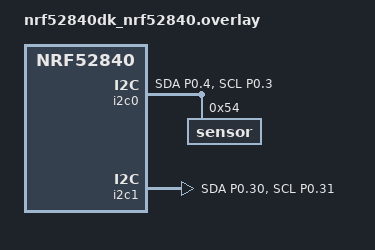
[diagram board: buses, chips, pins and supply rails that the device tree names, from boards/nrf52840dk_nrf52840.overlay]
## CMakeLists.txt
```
#
# Copyright (c) 2024 Nordic Semiconductor ASA
#
# SPDX-License-Identifier: LicenseRef-Nordic-5-Clause
#

cmake_minimum_required(VERSION 3.20.0)

find_package(Zephyr REQUIRED HINTS $ENV{ZEPHYR_BASE})
project(i2c_endless)

FILE(GLOB app_sources src/*.c)

target_sources(app PRIVATE ${app_sources})
```

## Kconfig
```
#
# Copyright (c) 2024 Nordic Semiconductor ASA
#
# SPDX-License-Identifier: LicenseRef-Nordic-5-Clause
#

config ROLE_HOST
	int "Change test behaviour depending on Host/Device role"
	default 1
	help
		Change test behaviour.
		0: Device - returns data received previously
		1: Host - generates data, sends it to the Device, confirms that received data is correct

source "Kconfig.zephyr"
```

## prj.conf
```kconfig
CONFIG_I2C=y
CONFIG_LOG=y
```

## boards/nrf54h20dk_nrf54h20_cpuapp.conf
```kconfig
CONFIG_NRFX_TWIS131=y
```

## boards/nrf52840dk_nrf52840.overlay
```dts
/*
 * Copyright (c) 2024 Nordic Semiconductor ASA
 *
 * SPDX-License-Identifier: LicenseRef-Nordic-5-Clause
 */

/ {
	aliases {
		i2c-slave = &i2c1;
	};
};

&pinctrl {
	i2c0_default_alt: i2c0_default_alt {
		group1 {
			psels = <NRF_PSEL(TWIM_SDA, 0, 4)>,
				<NRF_PSEL(TWIM_SCL, 0, 3)>;
		};
	};

	i2c0_sleep_alt: i2c0_sleep_alt {
		group1 {
			psels = <NRF_PSEL(TWIM_SDA, 0, 4)>,
				<NRF_PSEL(TWIM_SCL, 0, 3)>;
			low-power-enable;
		};
	};

	i2c1_default_alt: i2c1_default_alt {
		group1 {
/* Temporary workaround as it is currently not possible
 * to configure pins for TWIS with pinctrl. */
			psels = <NRF_PSEL(TWIM_SDA, 0, 30)>,
				<NRF_PSEL(TWIM_SCL, 0, 31)>;
			bias-pull-up;
		};
	};

	i2c1_sleep_alt: i2c1_sleep_alt {
		group1 {
			psels = <NRF_PSEL(TWIM_SDA, 0, 30)>,
				<NRF_PSEL(TWIM_SCL, 0, 31)>;
			low-power-enable;
		};
	};
};

&i2c0 {
	compatible = "nordic,nrf-twim";
	status = "okay";
	pinctrl-0 = <&i2c0_default_alt>;
	pinctrl-1 = <&i2c0_sleep_alt>;
	pinctrl-names = "default", "sleep";
	sensor: sensor@54 {
		reg = <0x54>;
	};
};


&i2c1 {
	compatible = "nordic,nrf-twis";
	status = "okay";
	pinctrl-0 = <&i2c1_default_alt>;
	pinctrl-1 = <&i2c1_sleep_alt>;
	pinctrl-names = "default", "sleep";
};
```

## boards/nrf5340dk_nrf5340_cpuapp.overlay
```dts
/*
 * Copyright (c) 2024 Nordic Semiconductor ASA
 *
 * SPDX-License-Identifier: LicenseRef-Nordic-5-Clause
 */

/ {
	aliases {
		i2c-slave = &i2c2;
	};
};

&pinctrl {
	i2c1_default_alt: i2c1_default_alt {
		group1 {
			psels = <NRF_PSEL(TWIM_SDA, 0, 4)>,
				<NRF_PSEL(TWIM_SCL, 0, 5)>;
		};
	};

	i2c1_sleep_alt: i2c1_sleep_alt {
		group1 {
			psels = <NRF_PSEL(TWIM_SDA, 0, 4)>,
				<NRF_PSEL(TWIM_SCL, 0, 5)>;
			low-power-enable;
		};
	};

	i2c2_default_alt: i2c2_default_alt {
		group1 {
/* Temporary workaround as it is currently not possible
 * to configure pins for TWIS with pinctrl. */
			psels = <NRF_PSEL(TWIM_SDA, 0, 26)>,
				<NRF_PSEL(TWIM_SCL, 0, 25)>;
			bias-pull-up;
		};
	};

	i2c2_sleep_alt: i2c2_sleep_alt {
		group1 {
			psels = <NRF_PSEL(TWIM_SDA, 0, 26)>,
				<NRF_PSEL(TWIM_SCL, 0, 25)>;
			low-power-enable;
		};
	};
};

&i2c1 {
	compatible = "nordic,nrf-twim";
	status = "okay";
	pinctrl-0 = <&i2c1_default_alt>;
	pinctrl-1 = <&i2c1_sleep_alt>;
	pinctrl-names = "default", "sleep";
	sensor: sensor@54 {
		reg = <0x54>;
	};
};

&i2c2 {
	compatible = "nordic,nrf-twis";
	pinctrl-0 = <&i2c2_default_alt>;
	pinctrl-1 = <&i2c2_sleep_alt>;
	pinctrl-names = "default", "sleep";
};
```

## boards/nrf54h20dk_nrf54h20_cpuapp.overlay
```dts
/*
 * Copyright (c) 2024 Nordic Semiconductor ASA
 *
 * SPDX-License-Identifier: LicenseRef-Nordic-5-Clause
 */

/ {
	aliases {
		i2c-slave = &i2c131;
	};
};

&pinctrl {
	i2c130_default_alt: i2c130_default_alt {
		group1 {
			psels = <NRF_PSEL(TWIM_SDA, 2, 8)>,
				<NRF_PSEL(TWIM_SCL, 1, 2)>;
		};
	};

	i2c130_sleep_alt: i2c130_sleep_alt {
		group1 {
			psels = <NRF_PSEL(TWIM_SDA, 2, 8)>,
				<NRF_PSEL(TWIM_SCL, 1, 2)>;
			low-power-enable;
		};
	};

	i2c131_default_alt: i2c131_default_alt {
		group1 {
/* Temporary workaround as it is currently not possible
 * to configure pins for TWIS with pinctrl. */
			psels = <NRF_PSEL(TWIM_SDA, 2, 9)>,
				<NRF_PSEL(TWIM_SCL, 1, 3)>;
			bias-pull-up;
		};
	};

	i2c131_sleep_alt: i2c131_sleep_alt {
		group1 {
			psels = <NRF_PSEL(TWIM_SDA, 2, 9)>,
				<NRF_PSEL(TWIM_SCL, 1, 3)>;
			low-power-enable;
		};
	};
};

&i2c130 {
	compatible = "nordic,nrf-twim";
	status = "okay";
	clock-frequency = <I2C_BITRATE_STANDARD>;
	pinctrl-0 = <&i2c130_default_alt>;
	pinctrl-1 = <&i2c130_sleep_alt>;
	pinctrl-names = "default", "sleep";
	memory-regions = <&cpuapp_dma_region>;
	sensor: sensor@54 {
		reg = <0x54>;
	};
};

&i2c131 {
	compatible = "nordic,nrf-twis";
	status = "okay";
	clock-frequency = <I2C_BITRATE_STANDARD>;
	pinctrl-0 = <&i2c131_default_alt>;
	pinctrl-1 = <&i2c131_sleep_alt>;
	pinctrl-names = "default", "sleep";
	memory-regions = <&cpuapp_dma_region>;
};
```

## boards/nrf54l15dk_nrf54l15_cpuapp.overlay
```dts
/*
 * Copyright (c) 2024 Nordic Semiconductor ASA
 *
 * SPDX-License-Identifier: LicenseRef-Nordic-5-Clause
 */

/ {
	aliases {
		i2c-slave = &i2c22;
	};
};

&pinctrl {
	i2c21_default_alt: i2c21_default_alt {
		group1 {
			psels = <NRF_PSEL(TWIM_SDA, 1, 8)>,
				<NRF_PSEL(TWIM_SCL, 1, 12)>;
		};
	};

	i2c21_sleep_alt: i2c21_sleep_alt {
		group1 {
			psels = <NRF_PSEL(TWIM_SDA, 1, 8)>,
				<NRF_PSEL(TWIM_SCL, 1, 12)>;
			low-power-enable;
		};
	};

	i2c22_default_alt: i2c22_default_alt {
		group1 {
/* Temporary workaround as it is currently not possible
 * to configure pins for TWIS with pinctrl. */
			psels = <NRF_PSEL(TWIM_SDA, 1, 9)>,
				<NRF_PSEL(TWIM_SCL, 1, 13)>;
			bias-pull-up;
		};
	};

	i2c22_sleep_alt: i2c22_sleep_alt {
		group1 {
			psels = <NRF_PSEL(TWIM_SDA, 1, 9)>,
				<NRF_PSEL(TWIM_SCL, 1, 13)>;
			low-power-enable;
		};
	};
};

&i2c21 {
	compatible = "nordic,nrf-twim";
	status = "okay";
	pinctrl-0 = <&i2c21_default_alt>;
	pinctrl-1 = <&i2c21_sleep_alt>;
	pinctrl-names = "default", "sleep";
	sensor: sensor@54 {
		reg = <0x54>;
	};
};

&i2c22 {
	compatible = "nordic,nrf-twis";
	status = "okay";
	pinctrl-0 = <&i2c22_default_alt>;
	pinctrl-1 = <&i2c22_sleep_alt>;
	pinctrl-names = "default", "sleep";
};
```

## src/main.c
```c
/*
 * Copyright (c) 2024 Nordic Semiconductor ASA
 *
 * SPDX-License-Identifier: LicenseRef-Nordic-5-Clause
 */

#include <zephyr/logging/log.h>
LOG_MODULE_REGISTER(app, LOG_LEVEL_INF);

#include <zephyr/kernel.h>
#include <zephyr/linker/devicetree_regions.h>
#include <zephyr/device.h>
#include <zephyr/drivers/pinctrl.h>

#include <zephyr/drivers/i2c.h>
#include <nrfx_twis.h>

#if CONFIG_NRFX_TWIS1
#define I2C_S_INSTANCE 1
#elif CONFIG_NRFX_TWIS2
#define I2C_S_INSTANCE 2
#elif CONFIG_NRFX_TWIS22
#define I2C_S_INSTANCE 22
#elif CONFIG_NRFX_TWIS131
#define I2C_S_INSTANCE 131
#else
#error "TWIS instance not enabled or not supported"
#endif

#define NODE_SENSOR DT_NODELABEL(sensor)
#define NODE_TWIS   DT_ALIAS(i2c_slave)

/* Test configuration: */
#define DATA_FIELD_LEN	(16)
#define	DELTA			(1)

#define TWIS_MEMORY_SECTION                                                            \
	COND_CODE_1(DT_NODE_HAS_PROP(NODE_TWIS, memory_regions),                           \
		    (__attribute__((__section__(                                               \
			    LINKER_DT_NODE_REGION_NAME(DT_PHANDLE(NODE_TWIS, memory_regions)))))), \
		    ())

static bool test_pass;
static int counter;

#if CONFIG_ROLE_HOST == 1
static const struct device *twim_dev = DEVICE_DT_GET(DT_BUS(NODE_SENSOR));
static uint8_t i2c_twim_buffer[DATA_FIELD_LEN];
static uint8_t previous_data[DATA_FIELD_LEN];

#else /* ROLE */
static const nrfx_twis_t twis = NRFX_TWIS_INSTANCE(I2C_S_INSTANCE);
static uint8_t i2c_twis_buffer[DATA_FIELD_LEN] TWIS_MEMORY_SECTION;
static uint8_t previous;

static const nrfx_twis_config_t config = {
	.addr = {DT_REG_ADDR(NODE_SENSOR), 0},
	.skip_gpio_cfg = true,
	.skip_psel_cfg = true,
};

void twis_verify_data(void)
{
	test_pass = true;
	/* Verify that received bytes differ by DELTA */
	/* First byte shall be (last byte from previous transaction + DELTA) */
	uint8_t byte_0 = i2c_twis_buffer[0];
	uint8_t expected = previous + DELTA;

	if (byte_0 != expected) {
		LOG_ERR("FAIL: rx[0] = %d, expected %d", byte_0, expected);
		test_pass = false;
	}
	/* Next byte shall be (previous byte + DELTA) */
	for (int i = 1; i < DATA_FIELD_LEN; i++) {
		uint8_t byte_i = i2c_twis_buffer[i];
		uint8_t byte_i_less_1 = i2c_twis_buffer[i - 1];

		if (byte_i != byte_i_less_1 + DELTA) {
			LOG_ERR("FAIL: rx[%d] = %d, expected %d",
				i, byte_i, (byte_i_less_1 + DELTA));
			test_pass = false;
		}
	}

	/* Backup last byte for next transaction */
	previous = i2c_twis_buffer[DATA_FIELD_LEN - 1];

	if (test_pass) {
		LOG_INF("Run %d - PASS", counter);
	} else {
		LOG_INF("Run %d - FAILED", counter);
	}
	counter++;
}

void i2s_slave_handler(nrfx_twis_evt_t const *p_event)
{
	switch (p_event->type) {
	case NRFX_TWIS_EVT_READ_REQ:
		nrfx_twis_tx_prepare(&twis, i2c_twis_buffer, DATA_FIELD_LEN);
		LOG_DBG("TWIS event: read request");
		break;
	case NRFX_TWIS_EVT_READ_DONE:
		memset(i2c_twis_buffer, 0, DATA_FIELD_LEN);
		LOG_DBG("TWIS event: read done");
		break;
	case NRFX_TWIS_EVT_WRITE_REQ:
		nrfx_twis_rx_prepare(&twis, i2c_twis_buffer, DATA_FIELD_LEN);
		LOG_DBG("TWIS event: write request");
		break;
	case NRFX_TWIS_EVT_WRITE_DONE:
		twis_verify_data();
		LOG_DBG("TWIS event: write done");
		break;
	default:
		LOG_DBG("TWIS event: %d", p_event->type);
		break;
	}
}

void twis_setup(void)
{
	int ret;

	ret = nrfx_twis_init(&twis, &config, i2s_slave_handler);
	if (ret != NRFX_SUCCESS) {
		LOG_ERR("nrfx_twis_init returned %d", ret);
	}

	PINCTRL_DT_DEFINE(NODE_TWIS);
	ret = pinctrl_apply_state(PINCTRL_DT_DEV_CONFIG_GET(NODE_TWIS), PINCTRL_STATE_DEFAULT);
	if (ret != 0) {
		LOG_ERR("pinctrl_apply_state() returned %d", ret);
	}

	IRQ_CONNECT(DT_IRQN(NODE_TWIS), DT_IRQ(NODE_TWIS, priority),
		    NRFX_TWIS_INST_HANDLER_GET(I2C_S_INSTANCE), NULL, 0);

	nrfx_twis_enable(&twis);
}
#endif /* ROLE */

int main(void)
{

#if CONFIG_ROLE_HOST == 1
	int ret;
	/* Variable used to generate increasing values */
	uint8_t acc = 0;

	LOG_INF("%s runs as a TWI HOST", CONFIG_BOARD_TARGET);

	/* Run test forever */
	while (1) {
		test_pass = true;

		/* Generate increasing values for the current test */
		for (int i = 0; i < DATA_FIELD_LEN; i++) {
			i2c_twim_buffer[i] = acc;
			acc += DELTA;
		}

		/* Send data */
		ret = i2c_write(twim_dev, i2c_twim_buffer, DATA_FIELD_LEN,
			DT_REG_ADDR(NODE_SENSOR));
		if (ret != 0) {
			LOG_ERR("i2c_write() returned %d", ret);
		}

		/* Backup data that was sent and clear twim buffer */
		for (int i = 0; i < DATA_FIELD_LEN; i++) {
			previous_data[i] = i2c_twim_buffer[i];
			i2c_twim_buffer[i] = 0;
		}

		/* Receive data */
		ret = i2c_read(twim_dev, i2c_twim_buffer, DATA_FIELD_LEN,
			DT_REG_ADDR(NODE_SENSOR));
		if (ret != 0) {
			LOG_ERR("i2c_read() returned %d", ret);
		}

		/* Check that received data is equal to data that was sent */
		for (int i = 0; i < DATA_FIELD_LEN; i++) {
			if (i2c_twim_buffer[i] != previous_data[i]) {
				LOG_ERR("FAIL: rx[%d] = %d, expected %d",
					i, i2c_twim_buffer[i], previous_data[i]);
				test_pass = false;
			}
		}

		if (test_pass) {
			LOG_INF("Run %d - PASS", counter);
		} else {
			LOG_INF("Run %d - FAILED", counter);
		}

		counter++;
		k_msleep(500);
	}

#else
	LOG_INF("%s runs as a TWI DEVICE", CONFIG_BOARD_TARGET);

	twis_setup();

	/* Run test forever */
	while (1) {
		k_msleep(500);
	}

#endif
}
```
